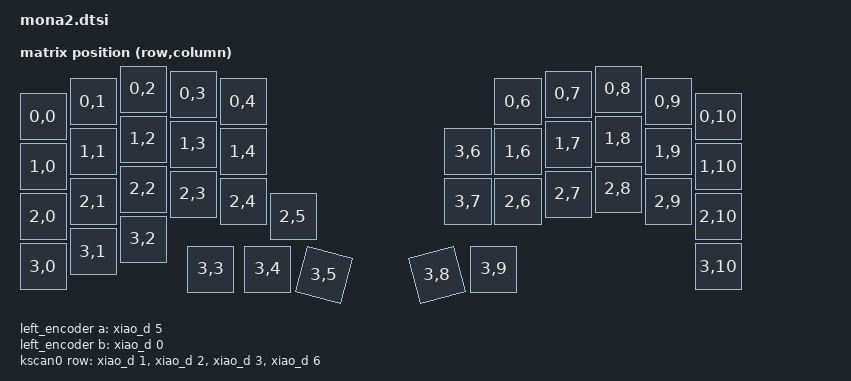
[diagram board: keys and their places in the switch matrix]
/*
 * moNa2 by sayu-hub. The matrix and pins are taken from the official firmware,
 * https://github.com/sayu-hub/zmk-config-moNa2-v2 (boards/shields/mona2). The physical layout
 * adds the column stagger and the thumb keys, estimated from photos of the keyboard.
 *
 * Key positions (42 keys):
 *   0  1  2  3  4              5  6  7  8  9
 *  10 11 12 13 14          15 16 17 18 19 20
 *  21 22 23 24 25 26       27 28 29 30 31 32
 *  33 34 35 36 37 38       39 40          41
 */

#include <dt-bindings/zmk/matrix_transform.h>
#include <physical_layouts.dtsi>

/ {
    chosen {
        zmk,physical-layout = &physical_layout0;
    };

    physical_layout0: physical_layout_0 {
        compatible = "zmk,physical-layout";
        display-name = "moNa2";

        kscan = <&kscan0>;
        transform = <&default_transform>;

        keys  //                     w   h    x    y     rot    rx    ry
            = <&key_physical_attrs 100 100    0   55       0     0     0>
            , <&key_physical_attrs 100 100  100   25       0     0     0>
            , <&key_physical_attrs 100 100  200    0       0     0     0>
            , <&key_physical_attrs 100 100  300   10       0     0     0>
            , <&key_physical_attrs 100 100  400   25       0     0     0>
            , <&key_physical_attrs 100 100  950   25       0     0     0>
            , <&key_physical_attrs 100 100 1050   10       0     0     0>
            , <&key_physical_attrs 100 100 1150    0       0     0     0>
            , <&key_physical_attrs 100 100 1250   25       0     0     0>
            , <&key_physical_attrs 100 100 1350   55       0     0     0>
            , <&key_physical_attrs 100 100    0  155       0     0     0>
            , <&key_physical_attrs 100 100  100  125       0     0     0>
            , <&key_physical_attrs 100 100  200  100       0     0     0>
            , <&key_physical_attrs 100 100  300  110       0     0     0>
            , <&key_physical_attrs 100 100  400  125       0     0     0>
            , <&key_physical_attrs 100 100  850  125       0     0     0>
            , <&key_physical_attrs 100 100  950  125       0     0     0>
            , <&key_physical_attrs 100 100 1050  110       0     0     0>
            , <&key_physical_attrs 100 100 1150  100       0     0     0>
            , <&key_physical_attrs 100 100 1250  125       0     0     0>
            , <&key_physical_attrs 100 100 1350  155       0     0     0>
            , <&key_physical_attrs 100 100    0  255       0     0     0>
            , <&key_physical_attrs 100 100  100  225       0     0     0>
            , <&key_physical_attrs 100 100  200  200       0     0     0>
            , <&key_physical_attrs 100 100  300  210       0     0     0>
            , <&key_physical_attrs 100 100  400  225       0     0     0>
            , <&key_physical_attrs 100 100  500  255       0     0     0>
            , <&key_physical_attrs 100 100  850  225       0     0     0>
            , <&key_physical_attrs 100 100  950  225       0     0     0>
            , <&key_physical_attrs 100 100 1050  210       0     0     0>
            , <&key_physical_attrs 100 100 1150  200       0     0     0>
            , <&key_physical_attrs 100 100 1250  225       0     0     0>
            , <&key_physical_attrs 100 100 1350  255       0     0     0>
            , <&key_physical_attrs 100 100    0  355       0     0     0>
            , <&key_physical_attrs 100 100  100  325       0     0     0>
            , <&key_physical_attrs 100 100  200  300       0     0     0>
            , <&key_physical_attrs 100 100  335  360       0     0     0>
            , <&key_physical_attrs 100 100  449  360       0     0     0>
            , <&key_physical_attrs 100 100  562  372    1500   612   422>
            , <&key_physical_attrs 100 100  788  372 (-1500)   838   422>
            , <&key_physical_attrs 100 100  901  360       0     0     0>
            , <&key_physical_attrs 100 100 1350  355       0     0     0>
            ;
    };

    default_transform: keymap_transform_0 {
        compatible = "zmk,matrix-transform";
        columns = <11>;
        rows = <4>;
        map = <
            RC(0,0) RC(0,1) RC(0,2) RC(0,3) RC(0,4)                     RC(0,6) RC(0,7) RC(0,8) RC(0,9) RC(0,10)
            RC(1,0) RC(1,1) RC(1,2) RC(1,3) RC(1,4)             RC(3,6) RC(1,6) RC(1,7) RC(1,8) RC(1,9) RC(1,10)
            RC(2,0) RC(2,1) RC(2,2) RC(2,3) RC(2,4) RC(2,5)     RC(3,7) RC(2,6) RC(2,7) RC(2,8) RC(2,9) RC(2,10)
            RC(3,0) RC(3,1) RC(3,2) RC(3,3) RC(3,4) RC(3,5)     RC(3,8) RC(3,9)                         RC(3,10)
        >;
    };

    // Wheel (EC11 encoder) on the left half, pins as in the official firmware; enabled in
    // mona2_l.overlay. The right half has none.
    left_encoder: encoder_left {
        compatible = "alps,ec11";
        a-gpios = <&xiao_d 5 (GPIO_ACTIVE_HIGH | GPIO_PULL_UP)>;
        b-gpios = <&xiao_d 0 (GPIO_ACTIVE_HIGH | GPIO_PULL_UP)>;
        steps = <96>;
        status = "disabled";
    };

    sensors: sensors {
        compatible = "zmk,keymap-sensors";
        sensors = <&left_encoder>;
        triggers-per-rotation = <24>;
    };

    kscan0: kscan {
        compatible = "zmk,kscan-gpio-matrix";
        diode-direction = "col2row";
            row-gpios
                = <&xiao_d 1 (GPIO_ACTIVE_HIGH | GPIO_PULL_DOWN)>
                , <&xiao_d 2 (GPIO_ACTIVE_HIGH | GPIO_PULL_DOWN)>
                , <&xiao_d 3 (GPIO_ACTIVE_HIGH | GPIO_PULL_DOWN)>
                , <&xiao_d 6 (GPIO_ACTIVE_HIGH | GPIO_PULL_DOWN)>
                ;
    };
};

// Both halves use the NFC pins (P0.09, P0.10) as GPIOs: matrix columns, and the trackball's
// chip select on the right half
&uicr {
    nfct-pins-as-gpios;
};
